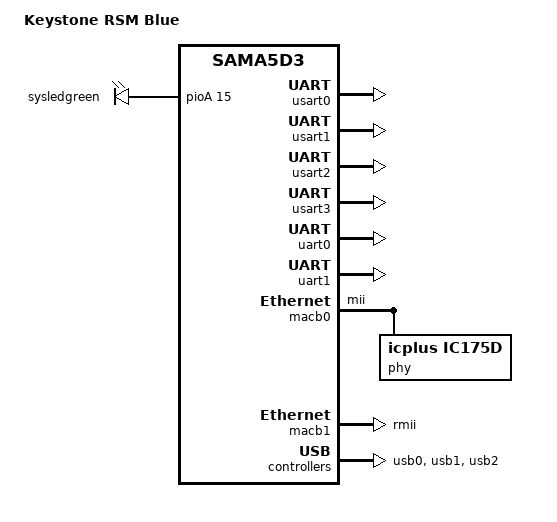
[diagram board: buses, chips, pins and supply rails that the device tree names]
/*
 * kses-rsm-blue.dts - Device Tree file for Keystone RSM Blue board
 *
 * Based on sama5d36ek.dtb by  Josh Wu <josh.wu@atmel.com> 
 *   Copyright (C) 2016 Keystone Electronic Solutions,
 *                2016 John Eigelaar <john@kses.net>
 *
 * Licensed under GPLv2 or later.
 */


/dts-v1/;

#include "sama5d36.dtsi"
#include "kses-bp-cm.dtsi"

/ {
	model = "Keystone RSM Blue";
    compatible = "kses,bluepenguin", "atmel,sama5d36ek", "atmel,sama5d3xmb", "atmel,sama5d3xcm", "atmel,sama5d36", "atmel,sama5d3", "atmel,sama5";

	guinnux {
		boardid = "5";
		description = "KSES RSM on BLUE";
		dtbname = "kses-rsm-blue.dtb";
		
		net {
            wan  = "eth1";
	        lan  = "eth0";
	        usb  = "usb0";
	        wwan = "wwan0";
	    };
	    serial {
	       /* Config String Format: */
	       /* device:owner:editable:baud:databits:stopbits:mode */
	       serial0 = "/dev/ttyS1:rdd:yes:115200:8:1:rs485";
	       serial1 = "/dev/ttyS2:rdd:yes:115200:8:1:rs485";
	       serial2 = "/dev/ttyS3:rdd:yes:115200:8:1:rs485";
	       serial3 = "/dev/ttyS4:rdd:yes:115200:8:1:rs485";
	       bt      = "/dev/ttyS5:spbt2632:no:115200:8:1:rs232";

	       gps     = "/dev/ttyUSB1:sim5320:no:4000000:8:1:rs232";
	       gsm     = "/dev/ttyUSB2:sim5320:no:4000000:8:1:rs232";
	    };			
	};

	ahb {
		apb {
			usart0: serial@f001c000 {
				pinctrl-names = "default";
				pinctrl-0 = <&pinctrl_usart0 &pinctrl_usart0_rts_cts>;
				status = "okay";
			
			};
			
			usart1: serial@f0020000 {
				pinctrl-names = "default";
				pinctrl-0 = <&pinctrl_usart1 &pinctrl_usart1_rts_cts>;
				status = "okay";
			};
			
			usart2: serial@f8020000 {
				pinctrl-names = "default";
				pinctrl-0 = <&pinctrl_usart2 &pinctrl_usart2_rts_cts>;
				status = "okay";
			};
			
			usart3: serial@f8024000 {
				pinctrl-names = "default";
				pinctrl-0 = <&pinctrl_usart3 &pinctrl_usart3_rts_cts>;
				status = "okay";
			};
			
			uart0: serial@f0024000 {
				pinctrl-names = "default";
				status = "okay";
			};
			
			uart1: serial@f8028000 {
				pinctrl-names = "default";
				status = "okay";
			};
			
			macb0: ethernet@f0028000 { //gmac
	                 phy-mode = "mii";
	                 pinctrl-0 = <&pinctrl_macb0_data_mii &pinctrl_macb0_signal_mii>;
		             status = "okay";
		             phy{
				       compatible = "icplus,ic175d";
				        vlan = <0>; 
				     };
			};
			
			macb1: ethernet@f802c000 { //emac
				phy-mode = "rmii";
				status = "okay";
			};
			
			pinctrl@fffff200 {
				board {
					pinctrl_led_h: led_h {
						atmel,pins =
							<3 30 0x0 0x4>;	/* PD30 GPIO  */
					};
					
					pinctrl_led_sd: led_sd {
						atmel,pins =
							<3 28 0x0 0x4>;	/* PD28 GPIO  */
					};
				};
			};
										
		};

		usb0: gadget@00500000 {
			atmel,vbus-gpio = <&pioD 29 0>;
			pinctrl-names = "default";
			pinctrl-0 = <&pinctrl_usba_vbus>;
			status = "okay";
		};

		usb1: ohci@00600000 {
			num-ports = <3>;
			atmel,vbus-gpio = <&pioD 25 0
					   &pioD 26 1
					   &pioD 27 1
					  >;
			status = "okay";
		};

		usb2: ehci@00700000 {
			status = "okay";
		};
	};

	leds {
		compatible = "gpio-leds";		

		sysledg {
			label = "sysledgreen";
			gpios = <&pioA 15 0>;	
			linux,default-trigger = "heartbeat";
		};
	};
	
	 gnxio {
    	 compatible = "kses,gnxio";
    	 wanr {
    	        label = "LED_WAN_RED";
    	        def_state = <0>;
    	        output = <1>;
    	        gpios = <&pioA 13 0>;
    	     };    	 
    	 wang {
    	        label = "LED_WAN_GREEN";
    	        def_state = <1>;
    	        output = <1>;
    	        gpios = <&pioA 10 0>;
    	     };    	 

    	 bus0r {
    	        label = "LED_BUS1_RED";
    	        def_state = <0>;
    	        output = <1>;
    	        gpios = <&pioA 4 0>;
    	     };    	 
    	 bus0g {
    	        label = "LED_BUS1_GREEN";
    	        def_state = <1>;
    	        output = <1>;
    	        gpios = <&pioA 3 0>;
    	     };    	 
    	 bus1r {
    	        label = "LED_BUS2_RED";
    	        def_state = <0>;
    	        output = <1>;
    	        gpios = <&pioA 14 0>;
    	     };    	 
    	 bus1g {
    	        label = "LED_BUS2_GREEN";
    	        def_state = <1>;
    	        output = <1>;
    	        gpios = <&pioA 12 0>;
    	     };
    	 bus2r {
    	        label = "LED_BUS3_RED";
    	        def_state = <0>;
    	        output = <1>;
    	        gpios = <&pioA 11 0>;
    	     };    	 
    	 bus2g {
    	        label = "LED_BUS3_GREEN";
    	        def_state = <1>;
    	        output = <1>;
    	        gpios = <&pioA 9 0>;
    	     };
    	 bus3r {
    	        label = "LED_BUS4_RED";
    	        def_state = <0>;
    	        output = <1>;
    	        gpios = <&pioA 7 0>;
    	     };    	 
    	 bus3g {
    	        label = "LED_BUS4_GREEN";
    	        def_state = <1>;
    	        output = <1>;
    	        gpios = <&pioA 5 0>;
    	     };
    	     
    	 btledr {
    	        label = "LED_BT_RED";
    	        def_state = <1>;
    	        output = <1>;
    	        gpios = <&pioA 2 0>;
    	     };    	 
    	 btledg {
    	        label = "LED_BT_GREEN";
    	        def_state = <1>;
    	        output = <1>;
    	        gpios = <&pioA 0 0>;
    	     };
    	     

    	 gsmledr {
    	        label = "LED_GSM_RED";
    	        def_state = <1>;
    	        output = <1>;
    	        gpios = <&pioA 8 0>;
    	     };
	 gsmledg {
    	        label = "LED_GSM_GREEN";
    	        def_state = <1>;
    	        output = <1>;
    	        gpios = <&pioA 6 0>;
    	     };    
    	 
    	 
    	 sysledr {
    	        label = "LED_SYS_RED";
    	        def_state = <0>;
    	        output = <1>;
    	        gpios = <&pioA 17 0>;
    	     };  
    	     
	buspower {
			label = "485BUS_POWER";
			def_state = <0>;
			output = <1>;
			gpios = <&pioA 19 0>;
		};  	 
		    	 
	gpsoff {
			label = "GPS_OFF";
			def_state = <1>;
			output = <1>;
			gpios = <&pioA 16 0>;
		};  	 

	gsmoff {
			label = "GSM_OFF";
			def_state = <1>;
			output = <1>;
			gpios = <&pioD 1 0>;
		};  	 
		
	gsmigt {
			label = "GSM_IGT";
			def_state = <0>;
			output = <1>;
			gpios = <&pioD 5 0>;
		};  	
		
	btreset {
			label = "BT_RESET";
			def_state = <1>;
			output = <1>;
			gpios = <&pioD 8 0>;
		};  	  
		
	btpair {
			label = "BT_PAIR";
			def_state = <1>;
			output = <0>;
			gpios = <&pioD 2 0>;
		};  	 
		

     };
	
};
